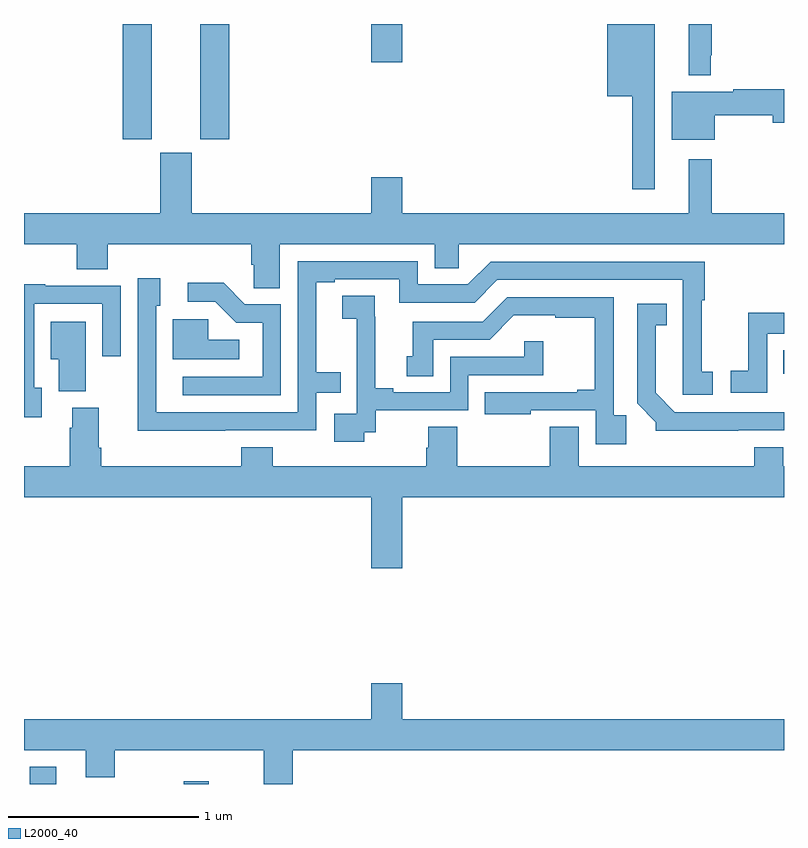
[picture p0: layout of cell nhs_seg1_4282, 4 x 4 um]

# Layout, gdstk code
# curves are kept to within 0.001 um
import gdstk
lib = gdstk.Library(unit=1e-6, precision=1e-09)
def R(c, l, rs):  # rectangles x0, y0, x1, y1
    for r in rs: c.add(gdstk.rectangle(r[:2], r[2:], *l))
def P(c, l, *ps):  # polygons
    for p in ps: c.add(gdstk.Polygon(p, *l))
L2000_40 = (2000, 40)

nhs_seg1_4282 = lib.new_cell('nhs_seg1_4282')
R(nhs_seg1_4282, L2000_40, [(343.031,574.199,343.171,574.291), (343.841,574.199,343.972,574.213), (346.996,576.359,347,576.481), (343.52,577.593,343.672,578.199), (343.928,577.593,344.081,578.199), (344.828,577.998,344.992,578.199)])
P(nhs_seg1_4282, L2000_40, [(346.614,578.035),(346.621,578.035),(346.621,578.199),(346.499,578.199),(346.499,577.928),(346.614,577.928)],
  [(346.321,578.199),(346.07,578.199),(346.07,577.82),(346.2,577.82),(346.2,577.329),(346.321,577.329)],
  [(346.636,577.72),(346.94,577.72),(346.94,577.678),(347,577.678),(347,577.856),(346.732,577.856),(346.732,577.843),(346.409,577.843),(346.409,577.589),(346.636,577.589)],
  [(343.882,577.521),(343.718,577.521),(343.718,577.204),(343,577.204),(343,577.04),(343.277,577.04),(343.277,576.907),(343.442,576.907),(343.442,577.04),(344.195,577.04),(344.195,576.931),(344.208,576.931),(344.208,576.808),(344.347,576.808),(344.347,577.04),(345.161,577.04),(345.161,576.913),(345.288,576.913),(345.288,577.04),(347,577.04),(347,577.204),(346.621,577.204),(346.621,577.486),(346.499,577.486),(346.499,577.204),(344.992,577.204),(344.992,577.393),(344.828,577.393),(344.828,577.204),(343.882,577.204)],
  [(344.06,576.06),(344.538,576.06),(344.538,576.258),(344.666,576.258),(344.666,576.367),(344.539,576.367),(344.539,576.84),(344.635,576.84),(344.635,576.855),(344.976,576.855),(344.976,576.732),(345.372,576.732),(345.492,576.852),(346.467,576.852),(346.466,576.249),(346.624,576.249),(346.624,576.369),(346.566,576.369),(346.566,576.745),(346.583,576.745),(346.583,576.948),(345.456,576.948),(345.336,576.828),(345.072,576.828),(345.072,576.951),(344.442,576.951),(344.442,576.156),(343.695,576.156),(343.695,576.717),(343.717,576.717),(343.717,576.862),(343.599,576.862),(343.598,576.059)],
  [(344.352,576.723),(344.163,576.723),(344.05,576.836),(343.863,576.836),(343.863,576.738),(344.007,576.738),(344.118,576.627),(344.256,576.627),(344.256,576.342),(343.836,576.342),(343.836,576.246),(344.352,576.246)],
  [(343.093,576.285),(343.053,576.285),(343.053,576.726),(343.413,576.726),(343.413,576.45),(343.509,576.45),(343.509,576.822),(343.113,576.822),(343.113,576.829),(343,576.829),(343,576.129),(343.093,576.129)],
  [(344.79,576.051),(344.852,576.051),(344.852,576.165),(345.339,576.165),(345.339,576.351),(345.734,576.351),(345.734,576.529),(345.633,576.529),(345.633,576.447),(345.243,576.447),(345.243,576.261),(344.944,576.261),(344.944,576.281),(344.848,576.281),(344.848,576.659),(344.846,576.659),(344.846,576.77),(344.676,576.77),(344.676,576.649),(344.75,576.649),(344.75,576.451),(344.751,576.451),(344.751,576.147),(344.634,576.147),(344.634,576),(344.79,576)],
  [(346.169,576.139),(346.104,576.139),(346.104,576.762),(345.543,576.762),(345.414,576.633),(345.047,576.633),(345.047,576.45),(345.014,576.45),(345.014,576.346),(345.154,576.346),(345.154,576.537),(345.45,576.537),(345.578,576.665),(345.797,576.665),(345.797,576.654),(346.003,576.654),(346.003,576.274),(345.911,576.274),(345.911,576.261),(345.424,576.261),(345.424,576.146),(345.667,576.146),(345.667,576.165),(346.008,576.165),(346.008,575.988),(346.169,575.988)],
  [(346.76,576.06),(347,576.06),(347,576.156),(346.425,576.156),(346.324,576.257),(346.324,576.614),(346.382,576.614),(346.382,576.727),(346.227,576.727),(346.227,576.202),(346.326,576.103),(346.326,576.059)],
  [(346.911,576.57),(347,576.57),(347,576.679),(346.813,576.679),(346.813,576.374),(346.719,576.374),(346.719,576.258),(346.911,576.258)],
  [(344.134,576.538),(343.971,576.538),(343.971,576.645),(343.784,576.645),(343.784,576.434),(344.134,576.434)],
  [(343.324,576.631),(343.142,576.631),(343.142,576.434),(343.184,576.434),(343.184,576.265),(343.324,576.265)],
  [(344.992,575.708),(347,575.708),(347,575.872),(346.996,575.872),(346.996,575.971),(346.844,575.971),(346.844,575.872),(345.919,575.872),(345.919,576.08),(345.767,576.08),(345.767,575.872),(345.281,575.872),(345.281,576.08),(345.128,576.08),(345.128,575.97),(345.116,575.97),(345.116,575.872),(344.309,575.872),(344.309,575.971),(344.144,575.971),(344.144,575.872),(343.406,575.872),(343.406,575.968),(343.393,575.968),(343.393,576.18),(343.253,576.18),(343.253,576.074),(343.241,576.074),(343.241,575.872),(343,575.872),(343,575.708),(344.828,575.708),(344.828,575.334),(344.992,575.334)],
  [(344.414,574.376),(347,574.376),(347,574.54),(344.992,574.54),(344.992,574.729),(344.828,574.729),(344.828,574.54),(343,574.54),(343,574.376),(343.325,574.376),(343.325,574.235),(343.478,574.235),(343.478,574.376),(344.261,574.376),(344.261,574.199),(344.414,574.199)])

lib.write_gds('nhs_seg1_4282.gds')
